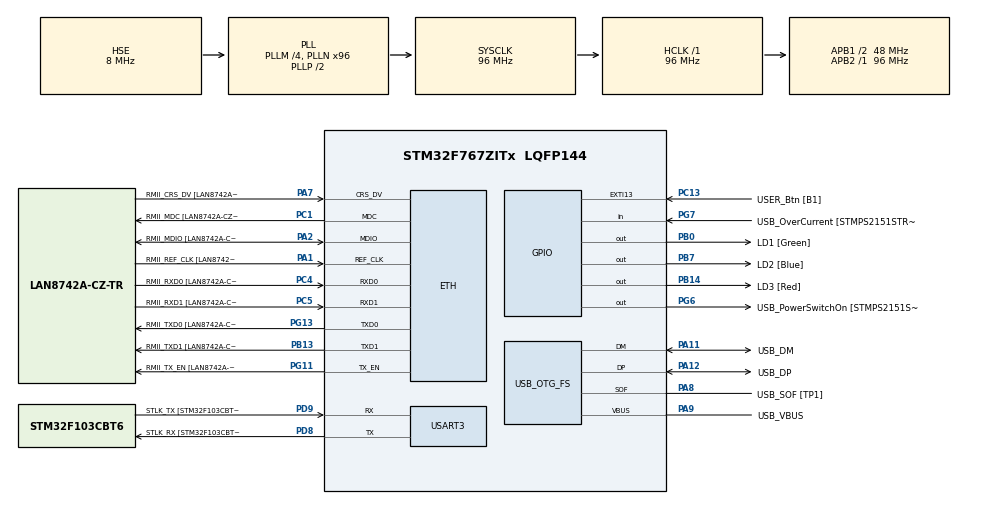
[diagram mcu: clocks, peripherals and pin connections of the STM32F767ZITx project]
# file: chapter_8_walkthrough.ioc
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ETH.MediaInterface=HAL_ETH_RMII_MODE
ETH.PHY_Name=LAN8742A_PHY_ADDRESS
ETH.PHY_Value=0
ETH.PhyAddress=0
FREERTOS.Tasks01=defaultTask,24,128,StartDefaultTask,Default,NULL,Dynamic,NULL,NULL
Mcu.Family=STM32F7
Mcu.Name=STM32F767ZITx
Mcu.Package=LQFP144
NVIC.PriorityGroup=NVIC_PRIORITYGROUP_4
PA1.GPIO_Label=RMII_REF_CLK [LAN8742A-CZ-TR_REFCLK0]
PA1.Mode=RMII
PA1.Signal=ETH_REF_CLK
PA10.GPIO_Label=USB_ID
PA10.Signal=USB_OTG_FS_ID
PA11.GPIO_Label=USB_DM
PA11.Mode=Device_Only
PA11.Signal=USB_OTG_FS_DM
PA12.GPIO_Label=USB_DP
PA12.Mode=Device_Only
PA12.Signal=USB_OTG_FS_DP
PA13.GPIO_Label=TMS
PA13.Mode=Serial_Wire
PA13.Signal=SYS_JTMS-SWDIO
PA14.GPIO_Label=TCK
PA14.Mode=Serial_Wire
PA14.Signal=SYS_JTCK-SWCLK
PA2.GPIO_Label=RMII_MDIO [LAN8742A-CZ-TR_MDIO]
PA2.Mode=RMII
PA2.Signal=ETH_MDIO
PA7.GPIO_Label=RMII_CRS_DV [LAN8742A-CZ-TR_CRS_DV]
PA7.Mode=RMII
PA7.Signal=ETH_CRS_DV
PA8.GPIO_Label=USB_SOF [TP1]
PA8.Mode=Activate_SOF_FS
PA8.Signal=USB_OTG_FS_SOF
PA9.GPIO_Label=USB_VBUS
PA9.Mode=Activate_VBUS
PA9.Signal=USB_OTG_FS_VBUS
PB0.GPIO_Label=LD1 [Green]
PB0.Signal=GPIO_Output
PB13.GPIO_Label=RMII_TXD1 [LAN8742A-CZ-TR_TXD1]
PB13.Mode=RMII
PB13.Signal=ETH_TXD1
PB14.GPIO_Label=LD3 [Red]
PB14.Signal=GPIO_Output
PB3.GPIO_Label=SWO
PB3.Signal=SYS_JTDO-SWO
PB7.GPIO_Label=LD2 [Blue]
PB7.Signal=GPIO_Output
PC1.GPIO_Label=RMII_MDC [LAN8742A-CZ-TR_MDC]
PC1.Mode=RMII
PC1.Signal=ETH_MDC
PC13.GPIO_Label=USER_Btn [B1]
PC13.Signal=GPXTI13
PC14/OSC32_IN.Mode=LSE-External-Oscillator
PC14/OSC32_IN.Signal=RCC_OSC32_IN
PC15/OSC32_OUT.Mode=LSE-External-Oscillator
PC15/OSC32_OUT.Signal=RCC_OSC32_OUT
PC4.GPIO_Label=RMII_RXD0 [LAN8742A-CZ-TR_RXD0]
PC4.Mode=RMII
PC4.Signal=ETH_RXD0
PC5.GPIO_Label=RMII_RXD1 [LAN8742A-CZ-TR_RXD1]
PC5.Mode=RMII
PC5.Signal=ETH_RXD1
PD8.GPIO_Label=STLK_RX [STM32F103CBT6_PA3]
PD8.Mode=Asynchronous
PD8.Signal=USART3_TX
PD9.GPIO_Label=STLK_TX [STM32F103CBT6_PA2]
PD9.Mode=Asynchronous
PD9.Signal=USART3_RX
PG11.GPIO_Label=RMII_TX_EN [LAN8742A-CZ-TR_TXEN]
PG11.Mode=RMII
PG11.Signal=ETH_TX_EN
PG13.GPIO_Label=RMII_TXD0 [LAN8742A-CZ-TR_TXD0]
PG13.Mode=RMII
PG13.Signal=ETH_TXD0
PG6.GPIO_Label=USB_PowerSwitchOn [STMPS2151STR_EN]
PG6.Signal=GPIO_Output
PG7.GPIO_Label=USB_OverCurrent [STMPS2151STR_FAULT]
PG7.Signal=GPIO_Input
PH0/OSC_IN.GPIO_Label=MCO [STM32F103CBT6_PA8]
PH0/OSC_IN.Mode=HSE-External-Clock-Source
PH0/OSC_IN.Signal=RCC_OSC_IN
PH1/OSC_OUT.Mode=HSE-External-Clock-Source
PH1/OSC_OUT.Signal=RCC_OSC_OUT
ProjectManager.HeapSize=0x200
ProjectManager.StackSize=0x400
ProjectManager.TargetToolchain=STM32CubeIDE
RCC.48MHZClocksFreq_Value=24000000
RCC.AHBFreq_Value=96000000
RCC.APB1CLKDivider=RCC_HCLK_DIV2
RCC.APB1Freq_Value=48000000
RCC.APB1TimFreq_Value=96000000
RCC.APB2Freq_Value=96000000
RCC.APB2TimFreq_Value=96000000
RCC.CortexFreq_Value=96000000
RCC.HCLKFreq_Value=96000000
RCC.HSE_VALUE=8000000
RCC.HSI_VALUE=16000000
RCC.PLLM=4
RCC.PLLMUL=RCC_PLL_MUL9
RCC.PLLN=96
RCC.PLLQ=4
RCC.PRESCALERUSB=RCC_USBCLKSOURCE_PLL_DIV1_5
RCC.SYSCLKFreq_VALUE=96000000
RCC.SYSCLKSource=RCC_SYSCLKSOURCE_PLLCLK
RCC.SYSCLKSourceVirtual=RCC_SYSCLKSOURCE_PLLCLK
RCC.USBFreq_Value=48000000
RCC.VCOOutputFreq_Value=192000000
USART3.VirtualMode-Asynchronous=VM_ASYNC
USB_OTG_FS.VirtualMode=Device_Only
VP_FREERTOS_VS_CMSIS_V2.Mode=CMSIS_V2
board=NUCLEO-F767ZI

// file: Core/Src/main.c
/* USER CODE BEGIN Header */
/**
  ******************************************************************************
  * @file           : main.c
  * @brief          : Main program body
  ******************************************************************************
  * @attention
  *
  * Copyright (c) 2023 STMicroelectronics.
  * All rights reserved.
  *
  * This software is licensed under terms that can be found in the LICENSE file
  * in the root directory of this software component.
  * If no LICENSE file comes with this software, it is provided AS-IS.
  *
  ******************************************************************************
  */
/* USER CODE END Header */
#include "main.h"
#include "string.h"
#include "cmsis_os.h"
#include <semphr.h>
#include <timers.h>

/* USER CODE BEGIN PTD */
void GreenTaskA( void * argument);
void BlueTaskB( void* argumet );
/* USER CODE END PTD */

#if defined ( __ICCARM__ ) /*!< IAR Compiler */
#pragma location=0x2007c000
ETH_DMADescTypeDef  DMARxDscrTab[ETH_RX_DESC_CNT]; /* Ethernet Rx DMA Descriptors */
#pragma location=0x2007c0a0
ETH_DMADescTypeDef  DMATxDscrTab[ETH_TX_DESC_CNT]; /* Ethernet Tx DMA Descriptors */

#elif defined ( __CC_ARM )  /* MDK ARM Compiler */

__attribute__((at(0x2007c000))) ETH_DMADescTypeDef  DMARxDscrTab[ETH_RX_DESC_CNT]; /* Ethernet Rx DMA Descriptors */
__attribute__((at(0x2007c0a0))) ETH_DMADescTypeDef  DMATxDscrTab[ETH_TX_DESC_CNT]; /* Ethernet Tx DMA Descriptors */

#elif defined ( __GNUC__ ) /* GNU Compiler */
ETH_DMADescTypeDef DMARxDscrTab[ETH_RX_DESC_CNT] __attribute__((section(".RxDecripSection"))); /* Ethernet Rx DMA Descriptors */
ETH_DMADescTypeDef DMATxDscrTab[ETH_TX_DESC_CNT] __attribute__((section(".TxDecripSection")));   /* Ethernet Tx DMA Descriptors */

#endif

ETH_TxPacketConfig TxConfig;

ETH_HandleTypeDef heth;

UART_HandleTypeDef huart3;

PCD_HandleTypeDef hpcd_USB_OTG_FS;

/* Definitions for defaultTask */
osThreadId_t defaultTaskHandle;
const osThreadAttr_t defaultTask_attributes = {
  .name = "defaultTask",
  .stack_size = 128 * 4,
  .priority = (osPriority_t) osPriorityNormal,
};

void SystemClock_Config(void);
static void MX_GPIO_Init(void);
static void MX_ETH_Init(void);
static void MX_USART3_UART_Init(void);
static void MX_USB_OTG_FS_PCD_Init(void);
void StartDefaultTask(void *argument);

/* USER CODE BEGIN 0 */
//create storage for a pointer to a semaphore
static SemaphoreHandle_t semPtr = NULL;
void oneShotCallBack( TimerHandle_t xTimer );
void repeatCallBack( TimerHandle_t xTimer );
/* USER CODE END 0 */

int main(void)
{

  /* MCU Configuration--------------------------------------------------------*/

  /* Reset of all peripherals, Initializes the Flash interface and the Systick. */
  HAL_Init();

  /* USER CODE BEGIN Init */

  //create a semaphore using the FreeRTOS Heap
  semPtr = xSemaphoreCreateBinary();
  xSemaphoreGive(semPtr);
  //assert_param(semPtr != NULL);
  /* USER CODE END Init */

  /* Configure the system clock */
  SystemClock_Config();

  /* Initialize all configured peripherals */
  MX_GPIO_Init();
  MX_ETH_Init();
  MX_USART3_UART_Init();
  MX_USB_OTG_FS_PCD_Init();

  /* Init scheduler */
  osKernelInitialize();

  /* Create the thread(s) */
  /* creation of defaultTask */
  defaultTaskHandle = osThreadNew(StartDefaultTask, NULL, &defaultTask_attributes);

  /* Start scheduler */
  osKernelStart();

  /* We should never get here as control is now taken by the scheduler */
  /* Infinite loop */
  while (1)
  {

  }
}

void SystemClock_Config(void)
{
  RCC_OscInitTypeDef RCC_OscInitStruct = {0};
  RCC_ClkInitTypeDef RCC_ClkInitStruct = {0};

  /** Configure LSE Drive Capability
  */
  HAL_PWR_EnableBkUpAccess();

  /** Configure the main internal regulator output voltage
  */
  __HAL_RCC_PWR_CLK_ENABLE();
  __HAL_PWR_VOLTAGESCALING_CONFIG(PWR_REGULATOR_VOLTAGE_SCALE3);

  /** Initializes the RCC Oscillators according to the specified parameters
  * in the RCC_OscInitTypeDef structure.
  */
  RCC_OscInitStruct.OscillatorType = RCC_OSCILLATORTYPE_HSE;
  RCC_OscInitStruct.HSEState = RCC_HSE_BYPASS;
  RCC_OscInitStruct.PLL.PLLState = RCC_PLL_ON;
  RCC_OscInitStruct.PLL.PLLSource = RCC_PLLSOURCE_HSE;
  RCC_OscInitStruct.PLL.PLLM = 4;
  RCC_OscInitStruct.PLL.PLLN = 96;
  RCC_OscInitStruct.PLL.PLLP = RCC_PLLP_DIV2;
  RCC_OscInitStruct.PLL.PLLQ = 4;
  RCC_OscInitStruct.PLL.PLLR = 2;
  if (HAL_RCC_OscConfig(&RCC_OscInitStruct) != HAL_OK)
  {
    Error_Handler();
  }

  /** Activate the Over-Drive mode
  */
  if (HAL_PWREx_EnableOverDrive() != HAL_OK)
  {
    Error_Handler();
  }

  /** Initializes the CPU, AHB and APB buses clocks
  */
  RCC_ClkInitStruct.ClockType = RCC_CLOCKTYPE_HCLK|RCC_CLOCKTYPE_SYSCLK
                              |RCC_CLOCKTYPE_PCLK1|RCC_CLOCKTYPE_PCLK2;
  RCC_ClkInitStruct.SYSCLKSource = RCC_SYSCLKSOURCE_PLLCLK;
  RCC_ClkInitStruct.AHBCLKDivider = RCC_SYSCLK_DIV1;
  RCC_ClkInitStruct.APB1CLKDivider = RCC_HCLK_DIV2;
  RCC_ClkInitStruct.APB2CLKDivider = RCC_HCLK_DIV1;

  if (HAL_RCC_ClockConfig(&RCC_ClkInitStruct, FLASH_LATENCY_3) != HAL_OK)
  {
    Error_Handler();
  }
}

static void MX_ETH_Init(void)
{

   static uint8_t MACAddr[6];

  heth.Instance = ETH;
  MACAddr[0] = 0x00;
  MACAddr[1] = 0x80;
  MACAddr[2] = 0xE1;
  MACAddr[3] = 0x00;
  MACAddr[4] = 0x00;
  MACAddr[5] = 0x00;
  heth.Init.MACAddr = &MACAddr[0];
  heth.Init.MediaInterface = HAL_ETH_RMII_MODE;
  heth.Init.TxDesc = DMATxDscrTab;
  heth.Init.RxDesc = DMARxDscrTab;
  heth.Init.RxBuffLen = 1524;

  if (HAL_ETH_Init(&heth) != HAL_OK)
  {
    Error_Handler();
  }

  memset(&TxConfig, 0 , sizeof(ETH_TxPacketConfig));
  TxConfig.Attributes = ETH_TX_PACKETS_FEATURES_CSUM | ETH_TX_PACKETS_FEATURES_CRCPAD;
  TxConfig.ChecksumCtrl = ETH_CHECKSUM_IPHDR_PAYLOAD_INSERT_PHDR_CALC;
  TxConfig.CRCPadCtrl = ETH_CRC_PAD_INSERT;

}

static void MX_USART3_UART_Init(void)
{

  huart3.Instance = USART3;
  huart3.Init.BaudRate = 115200;
  huart3.Init.WordLength = UART_WORDLENGTH_8B;
  huart3.Init.StopBits = UART_STOPBITS_1;
  huart3.Init.Parity = UART_PARITY_NONE;
  huart3.Init.Mode = UART_MODE_TX_RX;
  huart3.Init.HwFlowCtl = UART_HWCONTROL_NONE;
  huart3.Init.OverSampling = UART_OVERSAMPLING_16;
  huart3.Init.OneBitSampling = UART_ONE_BIT_SAMPLE_DISABLE;
  huart3.AdvancedInit.AdvFeatureInit = UART_ADVFEATURE_NO_INIT;
  if (HAL_UART_Init(&huart3) != HAL_OK)
  {
    Error_Handler();
  }

}

static void MX_USB_OTG_FS_PCD_Init(void)
{

  hpcd_USB_OTG_FS.Instance = USB_OTG_FS;
  hpcd_USB_OTG_FS.Init.dev_endpoints = 6;
  hpcd_USB_OTG_FS.Init.speed = PCD_SPEED_FULL;
  hpcd_USB_OTG_FS.Init.dma_enable = DISABLE;
  hpcd_USB_OTG_FS.Init.phy_itface = PCD_PHY_EMBEDDED;
  hpcd_USB_OTG_FS.Init.Sof_enable = ENABLE;
  hpcd_USB_OTG_FS.Init.low_power_enable = DISABLE;
  hpcd_USB_OTG_FS.Init.lpm_enable = DISABLE;
  hpcd_USB_OTG_FS.Init.vbus_sensing_enable = ENABLE;
  hpcd_USB_OTG_FS.Init.use_dedicated_ep1 = DISABLE;
  if (HAL_PCD_Init(&hpcd_USB_OTG_FS) != HAL_OK)
  {
    Error_Handler();
  }

}

static void MX_GPIO_Init(void)
{
  GPIO_InitTypeDef GPIO_InitStruct = {0};

  /* GPIO Ports Clock Enable */
  __HAL_RCC_GPIOC_CLK_ENABLE();
  __HAL_RCC_GPIOH_CLK_ENABLE();
  __HAL_RCC_GPIOA_CLK_ENABLE();
  __HAL_RCC_GPIOB_CLK_ENABLE();
  __HAL_RCC_GPIOD_CLK_ENABLE();
  __HAL_RCC_GPIOG_CLK_ENABLE();

  /*Configure GPIO pin Output Level */
  HAL_GPIO_WritePin(GPIOB, LD1_Pin|LD3_Pin|LD2_Pin, GPIO_PIN_RESET);

  /*Configure GPIO pin Output Level */
  HAL_GPIO_WritePin(USB_PowerSwitchOn_GPIO_Port, USB_PowerSwitchOn_Pin, GPIO_PIN_RESET);

  /*Configure GPIO pin : USER_Btn_Pin */
  GPIO_InitStruct.Pin = USER_Btn_Pin;
  GPIO_InitStruct.Mode = GPIO_MODE_IT_RISING;
  GPIO_InitStruct.Pull = GPIO_NOPULL;
  HAL_GPIO_Init(USER_Btn_GPIO_Port, &GPIO_InitStruct);

  /*Configure GPIO pins : LD1_Pin LD3_Pin LD2_Pin */
  GPIO_InitStruct.Pin = LD1_Pin|LD3_Pin|LD2_Pin;
  GPIO_InitStruct.Mode = GPIO_MODE_OUTPUT_PP;
  GPIO_InitStruct.Pull = GPIO_NOPULL;
  GPIO_InitStruct.Speed = GPIO_SPEED_FREQ_LOW;
  HAL_GPIO_Init(GPIOB, &GPIO_InitStruct);

  /*Configure GPIO pin : USB_PowerSwitchOn_Pin */
  GPIO_InitStruct.Pin = USB_PowerSwitchOn_Pin;
  GPIO_InitStruct.Mode = GPIO_MODE_OUTPUT_PP;
  GPIO_InitStruct.Pull = GPIO_NOPULL;
  GPIO_InitStruct.Speed = GPIO_SPEED_FREQ_LOW;
  HAL_GPIO_Init(USB_PowerSwitchOn_GPIO_Port, &GPIO_InitStruct);

  /*Configure GPIO pin : USB_OverCurrent_Pin */
  GPIO_InitStruct.Pin = USB_OverCurrent_Pin;
  GPIO_InitStruct.Mode = GPIO_MODE_INPUT;
  GPIO_InitStruct.Pull = GPIO_NOPULL;
  HAL_GPIO_Init(USB_OverCurrent_GPIO_Port, &GPIO_InitStruct);

}

/* USER CODE BEGIN 4 */
void GreenTaskA( void* argument )
{
	uint_fast8_t count = 0;
	while(1)
	{
		//every 5 times through the loop, give the semaphore
		if(++count >= 5)
		{
			count = 0;
			//SEGGER_SYSVIEW_PrintfHost("Task A (green LED) gives semPtr");
			xSemaphoreGive(semPtr);
		}
		//GreenLed.On();
		HAL_GPIO_WritePin(GPIOB, GPIO_PIN_14, GPIO_PIN_SET);
		vTaskDelay(100/portTICK_PERIOD_MS);
		//GreenLed.Off();
		HAL_GPIO_WritePin(GPIOB, GPIO_PIN_14, GPIO_PIN_RESET);
		vTaskDelay(100/portTICK_PERIOD_MS);
	}
}
void BlueTaskB( void* argument )
{
	while(1)
	{
		//'take' the semaphore with a really long timeout
		//SEGGER_SYSVIEW_PrintfHost("Task B (Blue LED) attempts to take semPtr");
		if(xSemaphoreTake(semPtr, portMAX_DELAY) == pdPASS)
		{
			//SEGGER_SYSVIEW_PrintfHost("Task B (Blue LED) received semPtr");
			//triple blink the Blue LED
			for(uint_fast8_t i = 0; i < 3; i++)
			{
				//BlueLed.On();
				HAL_GPIO_WritePin(GPIOB, GPIO_PIN_0, GPIO_PIN_SET);
				vTaskDelay(50/portTICK_PERIOD_MS);
				//BlueLed.Off();
				HAL_GPIO_WritePin(GPIOB, GPIO_PIN_0, GPIO_PIN_RESET);
				vTaskDelay(50/portTICK_PERIOD_MS);
			}
		}
//		else
//		{
//			This is the code that will be executed if we time out waiting for
//			the semaphore to be given.  In the case of a 1 mS tick rate, a uint32_t
//			will only provide a delay of around 50 days.
//			Unless "#define INCLUDE_vTaskSuspend 1" is configured in FreeRTOSConfig.h
//		}
	}
}
/* USER CODE END 4 */

void StartDefaultTask(void *argument)
{
  /* USER CODE BEGIN 5 */
  /* Infinite loop */

  for(;;)
  {
	HAL_GPIO_WritePin(GPIOB, GPIO_PIN_7, GPIO_PIN_SET);
	HAL_Delay(100);
	HAL_GPIO_WritePin(GPIOB, GPIO_PIN_7, GPIO_PIN_RESET);
	HAL_Delay(100);

    osDelay(1);
  }
  /* USER CODE END 5 */
}

void Error_Handler(void)
{
  __disable_irq();
  while (1)
  {
  }
}
